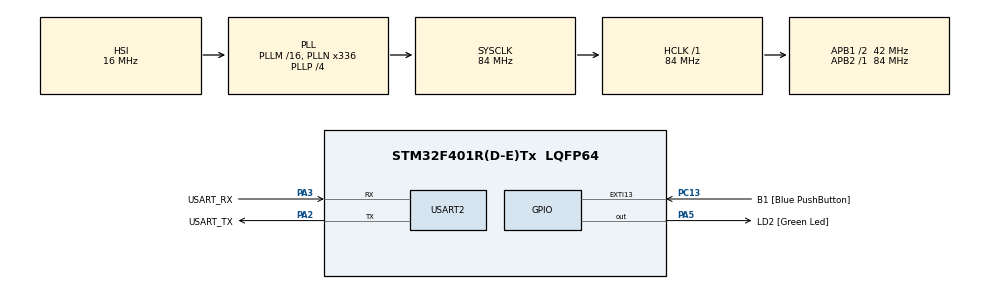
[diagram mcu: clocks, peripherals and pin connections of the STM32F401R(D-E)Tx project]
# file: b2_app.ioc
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IWDG.Prescaler=IWDG_PRESCALER_64
Mcu.Family=STM32F4
Mcu.Name=STM32F401R(D-E)Tx
Mcu.Package=LQFP64
NVIC.PriorityGroup=NVIC_PRIORITYGROUP_4
PA13.GPIO_Label=TMS
PA13.Mode=Trace_Asynchronous_SW
PA13.Signal=SYS_JTMS-SWDIO
PA14.GPIO_Label=TCK
PA14.Mode=Trace_Asynchronous_SW
PA14.Signal=SYS_JTCK-SWCLK
PA2.GPIO_Label=USART_TX
PA2.GPIO_Mode=GPIO_MODE_AF_PP
PA2.GPIO_PuPd=GPIO_NOPULL
PA2.GPIO_Speed=GPIO_SPEED_FREQ_LOW
PA2.Mode=Asynchronous
PA2.Signal=USART2_TX
PA3.GPIO_Label=USART_RX
PA3.GPIO_Mode=GPIO_MODE_AF_PP
PA3.GPIO_PuPd=GPIO_NOPULL
PA3.GPIO_Speed=GPIO_SPEED_FREQ_LOW
PA3.Mode=Asynchronous
PA3.Signal=USART2_RX
PA5.GPIO_Label=LD2 [Green Led]
PA5.GPIO_Mode=GPIO_MODE_OUTPUT_PP
PA5.GPIO_PuPd=GPIO_NOPULL
PA5.GPIO_Speed=GPIO_SPEED_FREQ_LOW
PA5.Signal=GPIO_Output
PB3.GPIO_Label=SWO
PB3.Mode=Trace_Asynchronous_SW
PB3.Signal=SYS_JTDO-SWO
PC13-ANTI_TAMP.GPIO_Label=B1 [Blue PushButton]
PC13-ANTI_TAMP.GPIO_ModeDefaultEXTI=GPIO_MODE_IT_FALLING
PC13-ANTI_TAMP.GPIO_PuPd=GPIO_NOPULL
PC13-ANTI_TAMP.Signal=GPXTI13
PC14-OSC32_IN.Mode=LSE-External-Oscillator
PC14-OSC32_IN.Signal=RCC_OSC32_IN
PC15-OSC32_OUT.Mode=LSE-External-Oscillator
PC15-OSC32_OUT.Signal=RCC_OSC32_OUT
PH0\ -\ OSC_IN.Mode=HSE-External-Clock-Source
PH0\ -\ OSC_IN.Signal=RCC_OSC_IN
PH1\ -\ OSC_OUT.Mode=HSE-External-Clock-Source
PH1\ -\ OSC_OUT.Signal=RCC_OSC_OUT
ProjectManager.HeapSize=0x200
ProjectManager.StackSize=0x400
ProjectManager.TargetToolchain=STM32CubeIDE
RCC.48MHZClocksFreq_Value=48000000
RCC.AHBFreq_Value=84000000
RCC.APB1CLKDivider=RCC_HCLK_DIV2
RCC.APB1Freq_Value=42000000
RCC.APB1TimFreq_Value=84000000
RCC.APB2Freq_Value=84000000
RCC.APB2TimFreq_Value=84000000
RCC.CortexFreq_Value=84000000
RCC.HCLKFreq_Value=84000000
RCC.HSE_VALUE=8000000
RCC.HSI_VALUE=16000000
RCC.PLLN=336
RCC.PLLP=RCC_PLLP_DIV4
RCC.PLLQ=7
RCC.SYSCLKFreq_VALUE=84000000
RCC.SYSCLKSource=RCC_SYSCLKSOURCE_PLLCLK
RCC.VCOOutputFreq_Value=336000000
USART2.VirtualMode=VM_ASYNC
VP_IWDG_VS_IWDG.Mode=IWDG_Activate
board=NUCLEO-F401RE

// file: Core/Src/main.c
/* USER CODE BEGIN Header */
/**
  ******************************************************************************
  * @file           : main.c
  * @brief          : Main program body
  ******************************************************************************
  * @attention
  *
  * Copyright (c) 2026 STMicroelectronics.
  * All rights reserved.
  *
  * This software is licensed under terms that can be found in the LICENSE file
  * in the root directory of this software component.
  * If no LICENSE file comes with this software, it is provided AS-IS.
  *
  ******************************************************************************
  */
/* USER CODE END Header */
#include "main.h"

/* USER CODE BEGIN Includes */
#include "ota_metadata.h"
/* USER CODE END Includes */

IWDG_HandleTypeDef hiwdg;

UART_HandleTypeDef huart2;

void SystemClock_Config(void);
static void MX_GPIO_Init(void);
static void MX_USART2_UART_Init(void);
static void MX_IWDG_Init(void);

/* USER CODE BEGIN 0 */
#define CONFIRM_AFTER_MS 10000U
static uint8_t confirmed = 0U;

static void confirm_boot(void) {
	const ota_metadata_t *meta = (const ota_metadata_t *)METADATA_BASE_ADDRESS;

	// do nothing if already confirmed
	if ((meta->boot_confirmed == BOOT_CONFIRMED) && (meta->boot_attempts == BOOT_ATTEMPTS_FRESH)) {
		return;
	}

	// copy current metadata into ram before erasing
	ota_metadata_t updated = *meta;
	updated.boot_confirmed = BOOT_CONFIRMED;
	updated.boot_attempts = BOOT_ATTEMPTS_FRESH;

	FLASH_EraseInitTypeDef erase = {0};
	uint32_t sector_error = 0U;
	const uint32_t *src = (const uint32_t *)&updated;

	if (HAL_FLASH_Unlock() != HAL_OK) {
		return;
	}

	erase.TypeErase = FLASH_TYPEERASE_SECTORS;
	erase.Sector = FLASH_SECTOR_7;
	erase.NbSectors = 1U;
	erase.VoltageRange = FLASH_VOLTAGE_RANGE_3;

	if (HAL_FLASHEx_Erase(&erase, &sector_error) != HAL_OK) {
		HAL_FLASH_Lock();
		return;
	}

	for (uint32_t i = 0U; i < (sizeof(ota_metadata_t) / 4U); i++) {
		if (HAL_FLASH_Program(FLASH_TYPEPROGRAM_WORD, METADATA_BASE_ADDRESS + (i * 4U), src[i]) != HAL_OK) {
			break;
		}
	}

	HAL_FLASH_Lock();
}
/* USER CODE END 0 */

int main(void)
{

  /* MCU Configuration--------------------------------------------------------*/

  /* Reset of all peripherals, Initializes the Flash interface and the Systick. */
  HAL_Init();

  /* Configure the system clock */
  SystemClock_Config();

  /* Initialize all configured peripherals */
  MX_GPIO_Init();
  MX_USART2_UART_Init();
  MX_IWDG_Init();

  /* Infinite loop */
  while (1) {

    /* USER CODE BEGIN 3 */
	HAL_IWDG_Refresh(&hiwdg);

	if (!confirmed && (HAL_GetTick() > CONFIRM_AFTER_MS)) {
		confirm_boot();
		confirmed = 1U;
	}

	HAL_GPIO_TogglePin(LD2_GPIO_Port, LD2_Pin);
	HAL_Delay(200);
  }
  /* USER CODE END 3 */
}

void SystemClock_Config(void)
{
  RCC_OscInitTypeDef RCC_OscInitStruct = {0};
  RCC_ClkInitTypeDef RCC_ClkInitStruct = {0};

  /** Configure the main internal regulator output voltage
  */
  __HAL_RCC_PWR_CLK_ENABLE();
  __HAL_PWR_VOLTAGESCALING_CONFIG(PWR_REGULATOR_VOLTAGE_SCALE2);

  /** Initializes the RCC Oscillators according to the specified parameters
  * in the RCC_OscInitTypeDef structure.
  */
  RCC_OscInitStruct.OscillatorType = RCC_OSCILLATORTYPE_HSI|RCC_OSCILLATORTYPE_LSI;
  RCC_OscInitStruct.HSIState = RCC_HSI_ON;
  RCC_OscInitStruct.HSICalibrationValue = RCC_HSICALIBRATION_DEFAULT;
  RCC_OscInitStruct.LSIState = RCC_LSI_ON;
  RCC_OscInitStruct.PLL.PLLState = RCC_PLL_ON;
  RCC_OscInitStruct.PLL.PLLSource = RCC_PLLSOURCE_HSI;
  RCC_OscInitStruct.PLL.PLLM = 16;
  RCC_OscInitStruct.PLL.PLLN = 336;
  RCC_OscInitStruct.PLL.PLLP = RCC_PLLP_DIV4;
  RCC_OscInitStruct.PLL.PLLQ = 7;
  if (HAL_RCC_OscConfig(&RCC_OscInitStruct) != HAL_OK)
  {
    Error_Handler();
  }

  /** Initializes the CPU, AHB and APB buses clocks
  */
  RCC_ClkInitStruct.ClockType = RCC_CLOCKTYPE_HCLK|RCC_CLOCKTYPE_SYSCLK
                              |RCC_CLOCKTYPE_PCLK1|RCC_CLOCKTYPE_PCLK2;
  RCC_ClkInitStruct.SYSCLKSource = RCC_SYSCLKSOURCE_PLLCLK;
  RCC_ClkInitStruct.AHBCLKDivider = RCC_SYSCLK_DIV1;
  RCC_ClkInitStruct.APB1CLKDivider = RCC_HCLK_DIV2;
  RCC_ClkInitStruct.APB2CLKDivider = RCC_HCLK_DIV1;

  if (HAL_RCC_ClockConfig(&RCC_ClkInitStruct, FLASH_LATENCY_2) != HAL_OK)
  {
    Error_Handler();
  }
}

static void MX_IWDG_Init(void)
{

  hiwdg.Instance = IWDG;
  hiwdg.Init.Prescaler = IWDG_PRESCALER_64;
  hiwdg.Init.Reload = 4095;
  if (HAL_IWDG_Init(&hiwdg) != HAL_OK)
  {
    Error_Handler();
  }

}

static void MX_USART2_UART_Init(void)
{

  huart2.Instance = USART2;
  huart2.Init.BaudRate = 115200;
  huart2.Init.WordLength = UART_WORDLENGTH_8B;
  huart2.Init.StopBits = UART_STOPBITS_1;
  huart2.Init.Parity = UART_PARITY_NONE;
  huart2.Init.Mode = UART_MODE_TX_RX;
  huart2.Init.HwFlowCtl = UART_HWCONTROL_NONE;
  huart2.Init.OverSampling = UART_OVERSAMPLING_16;
  if (HAL_UART_Init(&huart2) != HAL_OK)
  {
    Error_Handler();
  }

}

static void MX_GPIO_Init(void)
{
  GPIO_InitTypeDef GPIO_InitStruct = {0};

  /* GPIO Ports Clock Enable */
  __HAL_RCC_GPIOC_CLK_ENABLE();
  __HAL_RCC_GPIOH_CLK_ENABLE();
  __HAL_RCC_GPIOA_CLK_ENABLE();
  __HAL_RCC_GPIOB_CLK_ENABLE();

  /*Configure GPIO pin Output Level */
  HAL_GPIO_WritePin(LD2_GPIO_Port, LD2_Pin, GPIO_PIN_RESET);

  /*Configure GPIO pin : B1_Pin */
  GPIO_InitStruct.Pin = B1_Pin;
  GPIO_InitStruct.Mode = GPIO_MODE_IT_FALLING;
  GPIO_InitStruct.Pull = GPIO_NOPULL;
  HAL_GPIO_Init(B1_GPIO_Port, &GPIO_InitStruct);

  /*Configure GPIO pin : LD2_Pin */
  GPIO_InitStruct.Pin = LD2_Pin;
  GPIO_InitStruct.Mode = GPIO_MODE_OUTPUT_PP;
  GPIO_InitStruct.Pull = GPIO_NOPULL;
  GPIO_InitStruct.Speed = GPIO_SPEED_FREQ_LOW;
  HAL_GPIO_Init(LD2_GPIO_Port, &GPIO_InitStruct);

}

void Error_Handler(void)
{
  __disable_irq();
  while (1)
  {
  }
}
